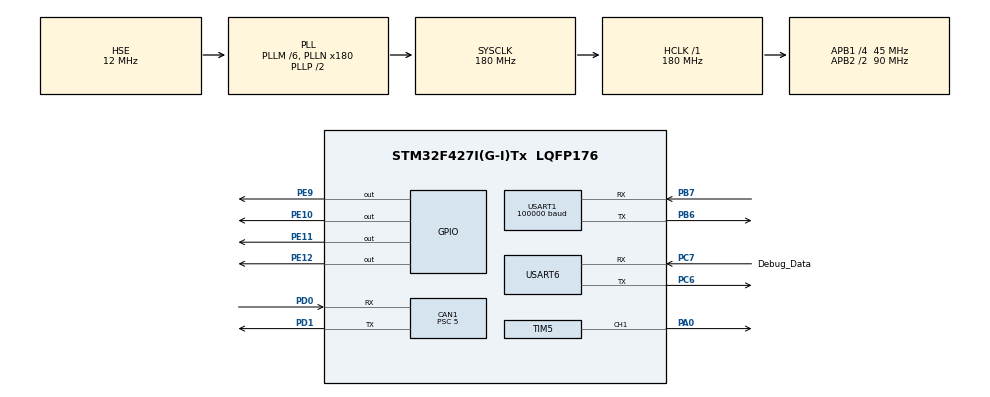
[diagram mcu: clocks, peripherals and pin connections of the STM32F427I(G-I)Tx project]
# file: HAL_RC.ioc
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CAN1.ABOM=ENABLE
CAN1.BS1=CAN_BS1_3TQ
CAN1.BS2=CAN_BS2_5TQ
CAN1.CalculateTimeQuantum=111.11111111111111
CAN1.NART=ENABLE
CAN1.Prescaler=5
CAN1.TXFP=ENABLE
Dma.Request0=USART1_RX
Dma.USART1_RX.0.Direction=DMA_PERIPH_TO_MEMORY
Dma.USART1_RX.0.FIFOMode=DMA_FIFOMODE_DISABLE
Dma.USART1_RX.0.Instance=DMA2_Stream2
Dma.USART1_RX.0.MemDataAlignment=DMA_MDATAALIGN_BYTE
Dma.USART1_RX.0.MemInc=DMA_MINC_ENABLE
Dma.USART1_RX.0.Mode=DMA_CIRCULAR
Dma.USART1_RX.0.PeriphDataAlignment=DMA_PDATAALIGN_BYTE
Dma.USART1_RX.0.PeriphInc=DMA_PINC_DISABLE
Dma.USART1_RX.0.Priority=DMA_PRIORITY_LOW
FREERTOS.INCLUDE_vTaskDelayUntil=1
FREERTOS.Tasks01=defaultTask,0,128,StartDefaultTask,Default,NULL,Dynamic,NULL,NULL;LED_Task,-3,128,LED,Default,NULL,Dynamic,NULL,NULL;Task_CanMsgRece,2,256,CanRecevices,Default,NULL,Dynamic,NULL,NULL;Task_Control,-3,128,ControlTask,Default,NULL,Dynamic,NULL,NULL;Task_CAL_TIME,-3,128,Calculat_time,Default,NULL,Dynamic,NULL,NULL
Mcu.Family=STM32F4
Mcu.Name=STM32F427I(G-I)Tx
Mcu.Package=LQFP176
NVIC.CAN1_RX0_IRQn=true\:5\:0\:true\:false\:true\:true\:true\:true
NVIC.DMA2_Stream2_IRQn=true\:5\:0\:false\:false\:true\:true\:false\:true
NVIC.PriorityGroup=NVIC_PRIORITYGROUP_4
NVIC.TIM6_DAC_IRQn=true\:0\:0\:false\:false\:true\:false\:false\:true
NVIC.TimeBase=TIM6_DAC_IRQn
NVIC.TimeBaseIP=TIM6
NVIC.USART1_IRQn=true\:5\:0\:false\:false\:true\:true\:true\:true
NVIC.USART6_IRQn=true\:5\:0\:false\:false\:true\:true\:true\:true
PA0/WKUP.Signal=S_TIM5_CH1
PA13.Mode=Serial_Wire
PA13.Signal=SYS_JTMS-SWDIO
PA14.Mode=Serial_Wire
PA14.Signal=SYS_JTCK-SWCLK
PB6.GPIO_ModeDefaultPP=GPIO_MODE_AF_PP
PB6.GPIO_PuPd=GPIO_NOPULL
PB6.GPIO_Speed=GPIO_SPEED_FREQ_VERY_HIGH
PB6.Mode=Asynchronous
PB6.Signal=USART1_TX
PB7.GPIO_ModeDefaultPP=GPIO_MODE_AF_PP
PB7.GPIO_PuPd=GPIO_NOPULL
PB7.GPIO_Speed=GPIO_SPEED_FREQ_VERY_HIGH
PB7.Mode=Asynchronous
PB7.Signal=USART1_RX
PC6.Mode=Asynchronous
PC6.Signal=USART6_TX
PC7.GPIO_Label=Debug_Data
PC7.Mode=Asynchronous
PC7.Signal=USART6_RX
PD0.Mode=Master
PD0.Signal=CAN1_RX
PD1.Mode=Master
PD1.Signal=CAN1_TX
PE10.GPIO_ModeDefaultOutputPP=GPIO_MODE_OUTPUT_PP
PE10.GPIO_PuPd=GPIO_NOPULL
PE10.GPIO_Speed=GPIO_SPEED_FREQ_LOW
PE10.PinState=GPIO_PIN_RESET
PE10.Signal=GPIO_Output
PE11.GPIO_ModeDefaultOutputPP=GPIO_MODE_OUTPUT_PP
PE11.GPIO_PuPd=GPIO_NOPULL
PE11.GPIO_Speed=GPIO_SPEED_FREQ_LOW
PE11.PinState=GPIO_PIN_RESET
PE11.Signal=GPIO_Output
PE12.GPIO_ModeDefaultOutputPP=GPIO_MODE_OUTPUT_PP
PE12.GPIO_PuPd=GPIO_NOPULL
PE12.GPIO_Speed=GPIO_SPEED_FREQ_LOW
PE12.PinState=GPIO_PIN_RESET
PE12.Signal=GPIO_Output
PE9.GPIO_ModeDefaultOutputPP=GPIO_MODE_OUTPUT_PP
PE9.GPIO_PuPd=GPIO_NOPULL
PE9.GPIO_Speed=GPIO_SPEED_FREQ_LOW
PE9.PinState=GPIO_PIN_RESET
PE9.Signal=GPIO_Output
PH0/OSC_IN.Mode=HSE-External-Oscillator
PH0/OSC_IN.Signal=RCC_OSC_IN
PH1/OSC_OUT.Mode=HSE-External-Oscillator
PH1/OSC_OUT.Signal=RCC_OSC_OUT
ProjectManager.HeapSize=0x200
ProjectManager.StackSize=0x400
ProjectManager.TargetToolchain=MDK-ARM V5.27
RCC.48MHZClocksFreq_Value=90000000
RCC.AHBFreq_Value=180000000
RCC.APB1CLKDivider=RCC_HCLK_DIV4
RCC.APB1Freq_Value=45000000
RCC.APB1TimFreq_Value=90000000
RCC.APB2CLKDivider=RCC_HCLK_DIV2
RCC.APB2Freq_Value=90000000
RCC.APB2TimFreq_Value=180000000
RCC.CortexFreq_Value=180000000
RCC.HCLKFreq_Value=180000000
RCC.HSE_VALUE=12000000
RCC.HSI_VALUE=16000000
RCC.LSE_VALUE=32768
RCC.PLLM=6
RCC.PLLN=180
RCC.PLLSourceVirtual=RCC_PLLSOURCE_HSE
RCC.SYSCLKFreq_VALUE=180000000
RCC.SYSCLKSource=RCC_SYSCLKSOURCE_PLLCLK
RCC.VCOOutputFreq_Value=360000000
SH.S_TIM5_CH1.0=TIM5_CH1,PWM Generation1 CH1
TIM5.Channel-PWM\ Generation1\ CH1=TIM_CHANNEL_1
TIM5.Period=200
TIM5.Prescaler=8999
TIM5.Pulse-PWM\ Generation1\ CH1=1000
USART1.BaudRate=100000
USART1.VirtualMode=VM_ASYNC
USART6.VirtualMode=VM_ASYNC
VP_FREERTOS_VS_CMSIS_V1.Mode=CMSIS_V1
VP_SYS_VS_tim6.Mode=TIM6
VP_TIM5_VS_ClockSourceINT.Mode=Internal
board=custom

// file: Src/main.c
/* USER CODE BEGIN Header */
/**
  ******************************************************************************
  * @file           : main.c
  * @brief          : Main program body
  ******************************************************************************
  * @attention
  *
  * <h2><center>&copy; Copyright (c) 2020 STMicroelectronics.
  * All rights reserved.</center></h2>
  *
  * This software component is licensed by ST under BSD 3-Clause license,
  * the "License"; You may not use this file except in compliance with the
  * License. You may obtain a copy of the License at:
  *                        opensource.org/licenses/BSD-3-Clause
  *
  ******************************************************************************
  */
/* USER CODE END Header */

#include "main.h"
#include "cmsis_os.h"
#include "can.h"
#include "dma.h"
#include "tim.h"
#include "usart.h"
#include "gpio.h"

/* USER CODE BEGIN Includes */
#include "user_common.h"
/* USER CODE END Includes */

void SystemClock_Config(void);
void MX_FREERTOS_Init(void);

int main(void)
{

  /* MCU Configuration--------------------------------------------------------*/

  /* Reset of all peripherals, Initializes the Flash interface and the Systick. */
  HAL_Init();

  /* Configure the system clock */
  SystemClock_Config();

  /* Initialize all configured peripherals */
  MX_GPIO_Init();
  MX_DMA_Init();
  MX_CAN1_Init();
  MX_USART1_UART_Init();
  MX_TIM5_Init();
  MX_USART6_UART_Init();
  /* USER CODE BEGIN 2 */
	CAN1_IT_Init();
	HAL_TIM_PWM_Start(&htim5, TIM_CHANNEL_1);
  DR16_USART1_IT_Init();
	USART6_IT_Init();

  /* USER CODE END 2 */

  /* Call init function for freertos objects (in freertos.c) */
  MX_FREERTOS_Init();
  /* Start scheduler */
  osKernelStart();

  /* We should never get here as control is now taken by the scheduler */
  /* Infinite loop */
  while (1)
  {

    /* USER CODE BEGIN 3 */
		Debug_addData(DR16.rc.ch0,1);
		Debug_addData(DR16.rc.ch2,2);
		Debug_show(2);
		HAL_Delay(5);

  }
  /* USER CODE END 3 */
}

void SystemClock_Config(void)
{
  RCC_OscInitTypeDef RCC_OscInitStruct = {0};
  RCC_ClkInitTypeDef RCC_ClkInitStruct = {0};

  /** Configure the main internal regulator output voltage
  */
  __HAL_RCC_PWR_CLK_ENABLE();
  __HAL_PWR_VOLTAGESCALING_CONFIG(PWR_REGULATOR_VOLTAGE_SCALE1);
  /** Initializes the CPU, AHB and APB busses clocks
  */
  RCC_OscInitStruct.OscillatorType = RCC_OSCILLATORTYPE_HSE;
  RCC_OscInitStruct.HSEState = RCC_HSE_ON;
  RCC_OscInitStruct.PLL.PLLState = RCC_PLL_ON;
  RCC_OscInitStruct.PLL.PLLSource = RCC_PLLSOURCE_HSE;
  RCC_OscInitStruct.PLL.PLLM = 6;
  RCC_OscInitStruct.PLL.PLLN = 180;
  RCC_OscInitStruct.PLL.PLLP = RCC_PLLP_DIV2;
  RCC_OscInitStruct.PLL.PLLQ = 4;
  if (HAL_RCC_OscConfig(&RCC_OscInitStruct) != HAL_OK)
  {
    Error_Handler();
  }
  /** Activate the Over-Drive mode
  */
  if (HAL_PWREx_EnableOverDrive() != HAL_OK)
  {
    Error_Handler();
  }
  /** Initializes the CPU, AHB and APB busses clocks
  */
  RCC_ClkInitStruct.ClockType = RCC_CLOCKTYPE_HCLK|RCC_CLOCKTYPE_SYSCLK
                              |RCC_CLOCKTYPE_PCLK1|RCC_CLOCKTYPE_PCLK2;
  RCC_ClkInitStruct.SYSCLKSource = RCC_SYSCLKSOURCE_PLLCLK;
  RCC_ClkInitStruct.AHBCLKDivider = RCC_SYSCLK_DIV1;
  RCC_ClkInitStruct.APB1CLKDivider = RCC_HCLK_DIV4;
  RCC_ClkInitStruct.APB2CLKDivider = RCC_HCLK_DIV2;

  if (HAL_RCC_ClockConfig(&RCC_ClkInitStruct, FLASH_LATENCY_5) != HAL_OK)
  {
    Error_Handler();
  }
}

 /**
  * @brief  Period elapsed callback in non blocking mode
  * @note   This function is called  when TIM6 interrupt took place, inside
  * HAL_TIM_IRQHandler(). It makes a direct call to HAL_IncTick() to increment
  * a global variable "uwTick" used as application time base.
  * @param  htim : TIM handle
  * @retval None
  */
void HAL_TIM_PeriodElapsedCallback(TIM_HandleTypeDef *htim)
{
  if (htim->Instance == TIM6) {
    HAL_IncTick();
  }
}

void Error_Handler(void)
{
}

/************************ (C) COPYRIGHT STMicroelectronics *****END OF FILE****/

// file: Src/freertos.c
/* USER CODE BEGIN Header */
/**
  ******************************************************************************
  * File Name          : freertos.c
  * Description        : Code for freertos applications
  ******************************************************************************
  * @attention
  *
  * <h2><center>&copy; Copyright (c) 2020 STMicroelectronics.
  * All rights reserved.</center></h2>
  *
  * This software component is licensed by ST under Ultimate Liberty license
  * SLA0044, the "License"; You may not use this file except in compliance with
  * the License. You may obtain a copy of the License at:
  *                             www.st.com/SLA0044
  *
  ******************************************************************************
  */
  /* USER CODE END Header */

  /* Includes ------------------------------------------------------------------*/
#include "FreeRTOS.h"
#include "task.h"
#include "main.h"
#include "cmsis_os.h"

/* USER CODE BEGIN Includes */
#include "can.h"
#include "dma.h"
#include "tim.h"
#include "usart.h"
#include "gpio.h"
#include "user_common.h"
#include "bldc_can.h"
/* USER CODE END Includes */

/* USER CODE BEGIN Variables */
osMessageQId 	xQueueCanReceive;
/* USER CODE END Variables */
osThreadId defaultTaskHandle;
osThreadId LED_TaskHandle;
osThreadId Task_CanMsgReceHandle;
osThreadId Task_ControlHandle;
osThreadId Task_CAL_TIMEHandle;

void StartDefaultTask(void const * argument);
void LED(void const * argument);
void CanRecevices(void const * argument);
void ControlTask(void const * argument);
void Calculat_time(void const * argument);

void MX_FREERTOS_Init(void); /* (MISRA C 2004 rule 8.1) */

/* GetIdleTaskMemory prototype (linked to static allocation support) */
void vApplicationGetIdleTaskMemory(StaticTask_t **ppxIdleTaskTCBBuffer, StackType_t **ppxIdleTaskStackBuffer, uint32_t *pulIdleTaskStackSize);

/* USER CODE BEGIN GET_IDLE_TASK_MEMORY */
static StaticTask_t xIdleTaskTCBBuffer;
static StackType_t xIdleStack[configMINIMAL_STACK_SIZE];

void vApplicationGetIdleTaskMemory(StaticTask_t **ppxIdleTaskTCBBuffer, StackType_t **ppxIdleTaskStackBuffer, uint32_t *pulIdleTaskStackSize)
{
	*ppxIdleTaskTCBBuffer = &xIdleTaskTCBBuffer;
	*ppxIdleTaskStackBuffer = &xIdleStack[0];
	*pulIdleTaskStackSize = configMINIMAL_STACK_SIZE;
	/* place for user code */
}
/* USER CODE END GET_IDLE_TASK_MEMORY */

void MX_FREERTOS_Init(void) {

	/* USER CODE BEGIN RTOS_QUEUES */
	/* add queues, ... */
	  //创造CAN接收队列
	xQueueCanReceive = xQueueCreate(10, sizeof(CAN_RxTypedef));
	/* USER CODE END RTOS_QUEUES */

	/* Create the thread(s) */
	/* definition and creation of defaultTask */
	osThreadDef(defaultTask, StartDefaultTask, osPriorityNormal, 0, 128);
	defaultTaskHandle = osThreadCreate(osThread(defaultTask), NULL);

	/* definition and creation of LED_Task */
	osThreadDef(LED_Task, LED, osPriorityIdle, 0, 128);
	LED_TaskHandle = osThreadCreate(osThread(LED_Task), NULL);

	/* definition and creation of Task_CanMsgRece */
	osThreadDef(Task_CanMsgRece, CanRecevices, osPriorityHigh, 0, 256);
	Task_CanMsgReceHandle = osThreadCreate(osThread(Task_CanMsgRece), NULL);

	/* definition and creation of Task_Control */
	osThreadDef(Task_Control, ControlTask, osPriorityIdle, 0, 128);
	Task_ControlHandle = osThreadCreate(osThread(Task_Control), NULL);

	/* definition and creation of Task_CAL_TIME */
	osThreadDef(Task_CAL_TIME, Calculat_time, osPriorityIdle, 0, 128);
	Task_CAL_TIMEHandle = osThreadCreate(osThread(Task_CAL_TIME), NULL);

}

void StartDefaultTask(void const * argument)
{
	/* USER CODE BEGIN StartDefaultTask */
	/* Infinite loop */
	for (;;)
	{
		Chassis_Init();
		//		vesc_can_set_current(ID,current);
		osDelay(3);
		Debug_addData(M3508s[0].realSpeed, 1);
		Debug_addData(M3508s[0].spd * 100, 2);
		Debug_addData(M3508s[0].rad_S, 3);
		Debug_show(3);
		//    osDelay(1);
	}
	/* USER CODE END StartDefaultTask */
}

void LED(void const * argument)
{
	/* USER CODE BEGIN LED */
	/* Infinite loop */
	for (;;)
	{
		HAL_GPIO_TogglePin(GPIOE, GPIO_PIN_9);
		osDelay(1000);
		HAL_GPIO_TogglePin(GPIOE, GPIO_PIN_11);
		osDelay(1000);
		//	 vesc_can_set_duty(6,0.2f);
	}
	/* USER CODE END LED */
}

void CanRecevices(void const * argument)
{
	/* USER CODE BEGIN CanRecevices */
	/* Infinite loop */
	CAN_RxTypedef CanReceiveData;
	uint32_t ID;
	for (;;)
	{		//等待队列不为空
		xQueueReceive(xQueueCanReceive, &CanReceiveData, portMAX_DELAY);
		ID = CanReceiveData.CAN_RxHeader.StdId;

		if (CanReceiveData.CANx == 1)
		{
			if (ID == M3508_READID_START)
			{
				M3508_getInfo(CanReceiveData);
			}

		}

		osDelay(1);
	}
	/* USER CODE END CanRecevices */
}

void ControlTask(void const * argument)
{
	/* USER CODE BEGIN ControlTask */
	/* Infinite loop */
	for (;;)
	{

		Robot_control();
		osDelay(2);
	}
	/* USER CODE END ControlTask */
}

void Calculat_time(void const * argument)
{
	/* USER CODE BEGIN Calculat_time */
	/* Infinite loop */
	portTickType xLastWakeTime;
	xLastWakeTime = xTaskGetTickCount();
	const TickType_t TimeIncrement = pdMS_TO_TICKS(1);
	for (;;)
	{
		Time_rad += 1.884f / 1000.0f;
		vTaskDelayUntil(&xLastWakeTime, TimeIncrement);
		//    osDelay(1);
	}
	/* USER CODE END Calculat_time */
}

/************************ (C) COPYRIGHT STMicroelectronics *****END OF FILE****/
